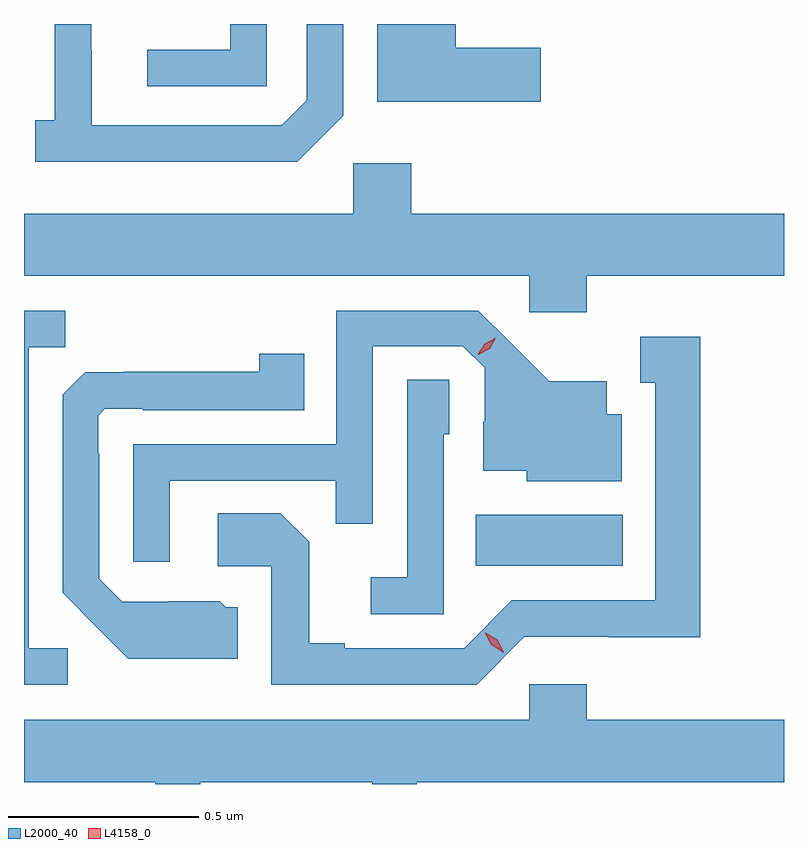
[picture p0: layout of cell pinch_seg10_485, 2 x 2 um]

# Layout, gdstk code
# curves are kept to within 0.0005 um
import gdstk
lib = gdstk.Library(unit=1e-6, precision=1e-09)
def R(c, l, rs):  # rectangles x0, y0, x1, y1
    for r in rs: c.add(gdstk.rectangle(r[:2], r[2:], *l))
def P(c, l, *ps):  # polygons
    for p in ps: c.add(gdstk.Polygon(p, *l))
L2000_40 = (2000, 40)
L4158_0 = (4158, 0)

pinch_seg10_485 = lib.new_cell('pinch_seg10_485')
R(pinch_seg10_485, L2000_40, [(340.276,1307.546,340.663,1307.68)])
P(pinch_seg10_485, L2000_40, [(339.927,1308.729),(339.927,1308.971),(339.831,1308.971),(339.831,1308.771),(339.765,1308.705),(339.265,1308.705),(339.265,1308.905),(339.264,1308.905),(339.264,1308.971),(339.168,1308.971),(339.168,1308.718),(339.117,1308.718),(339.117,1308.608),(339.806,1308.608)],
  [(339.726,1308.971),(339.63,1308.971),(339.63,1308.903),(339.411,1308.903),(339.411,1308.807),(339.726,1308.807)],
  [(340.447,1308.908),(340.223,1308.908),(340.223,1308.971),(340.016,1308.971),(340.016,1308.766),(340.447,1308.766)],
  [(340.568,1308.308),(341.087,1308.308),(341.087,1308.472),(340.106,1308.472),(340.106,1308.604),(339.954,1308.604),(339.954,1308.472),(339.087,1308.472),(339.087,1308.308),(340.416,1308.308),(340.416,1308.213),(340.568,1308.213)],
  [(339.471,1307.769),(339.907,1307.769),(339.907,1307.656),(340.005,1307.656),(340.005,1308.123),(340.242,1308.123),(340.299,1308.066),(340.299,1307.924),(340.295,1307.924),(340.295,1307.795),(340.41,1307.795),(340.41,1307.768),(340.66,1307.768),(340.66,1307.944),(340.621,1307.944),(340.621,1308.031),(340.469,1308.031),(340.282,1308.216),(339.909,1308.216),(339.909,1307.865),(339.375,1307.865),(339.375,1307.556),(339.471,1307.556)],
  [(339.202,1307.328),(339.099,1307.328),(339.099,1308.121),(339.195,1308.121),(339.195,1308.216),(339.087,1308.216),(339.087,1307.232),(339.202,1307.232)],
  [(340.404,1307.358),(340.626,1307.358),(340.626,1307.357),(340.867,1307.357),(340.867,1308.148),(340.709,1308.148),(340.709,1308.027),(340.748,1308.027),(340.748,1307.454),(340.371,1307.454),(340.245,1307.328),(339.931,1307.328),(339.931,1307.341),(339.837,1307.341),(339.837,1307.608),(339.761,1307.684),(339.597,1307.684),(339.597,1307.544),(339.738,1307.544),(339.738,1307.232),(340.278,1307.232)],
  [(339.649,1307.436),(339.618,1307.436),(339.602,1307.452),(339.468,1307.452),(339.468,1307.451),(339.345,1307.451),(339.285,1307.511),(339.285,1307.84),(339.282,1307.84),(339.282,1307.94),(339.3,1307.958),(339.4,1307.958),(339.4,1307.955),(339.824,1307.955),(339.824,1308.103),(339.706,1308.103),(339.706,1308.056),(339.349,1308.056),(339.349,1308.055),(339.248,1308.055),(339.189,1307.996),(339.189,1307.474),(339.361,1307.3),(339.649,1307.3)],
  [(340.191,1307.892),(340.206,1307.892),(340.206,1308.035),(340.095,1308.035),(340.095,1307.515),(339.999,1307.515),(339.999,1307.418),(340.191,1307.418)],
  [(339.551,1306.976),(340.004,1306.976),(340.004,1306.971),(340.121,1306.971),(340.121,1306.976),(341.087,1306.976),(341.087,1307.14),(340.568,1307.14),(340.568,1307.233),(340.416,1307.233),(340.416,1307.14),(339.087,1307.14),(339.087,1306.976),(339.433,1306.976),(339.433,1306.971),(339.551,1306.971)])
P(pinch_seg10_485, L4158_0, [(340.349,1307.317),(340.317,1307.337),(340.3,1307.37),(340.3,1307.37),(340.3,1307.37),(340.332,1307.35),(340.349,1307.318),(340.349,1307.317)],
  [(340.281,1308.1),(340.281,1308.1),(340.299,1308.13),(340.329,1308.146),(340.329,1308.146),(340.329,1308.145),(340.312,1308.116),(340.282,1308.1)])

lib.write_gds('pinch_seg10_485.gds')
